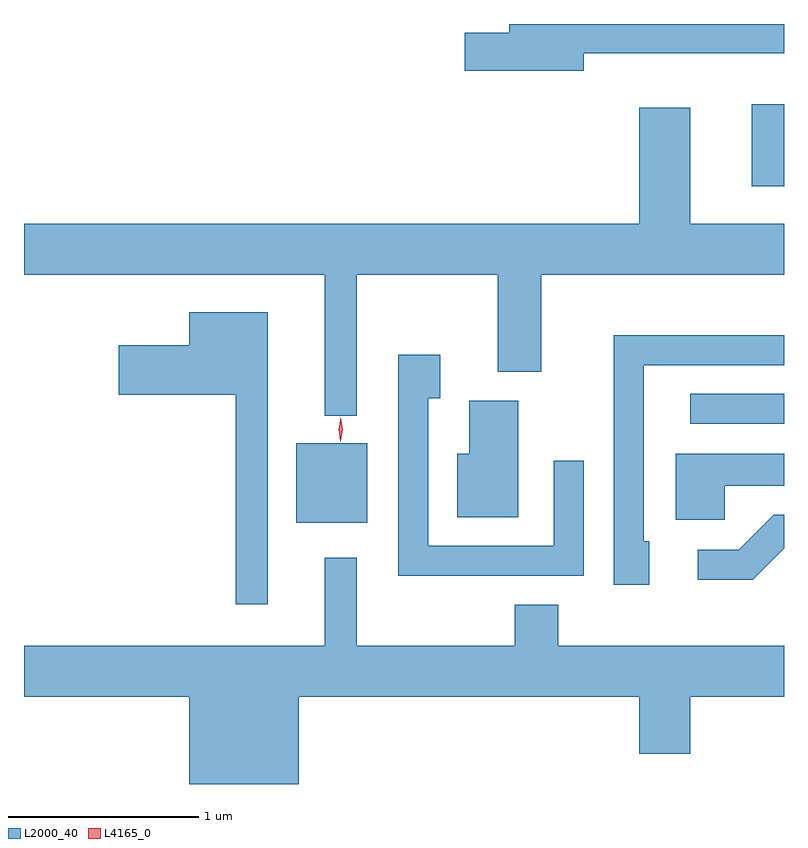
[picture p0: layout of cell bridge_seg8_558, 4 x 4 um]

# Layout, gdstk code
import gdstk
lib = gdstk.Library(unit=1e-6, precision=1e-09)
def R(c, l, rs):  # rectangles x0, y0, x1, y1
    for r in rs: c.add(gdstk.rectangle(r[:2], r[2:], *l))
def P(c, l, *ps):  # polygons
    for p in ps: c.add(gdstk.Polygon(p, *l))
L2000_40 = (2000, 40)
L4165_0 = (4165, 0)

bridge_seg8_558 = lib.new_cell('bridge_seg8_558')
R(bridge_seg8_558, L2000_40, [(592.891,1832.891,593.264,1833.309), (594.963,1833.411,595.457,1833.569), (595.286,1834.661,595.457,1835.094)])
P(bridge_seg8_558, L2000_40, [(594.404,1835.361),(595.457,1835.361),(595.457,1835.516),(594.011,1835.516),(594.011,1835.469),(593.776,1835.469),(593.776,1835.271),(594.404,1835.271)],
  [(593.209,1834.196),(593.951,1834.196),(593.951,1833.686),(594.179,1833.686),(594.179,1834.196),(595.457,1834.196),(595.457,1834.464),(594.964,1834.464),(594.964,1835.074),(594.696,1835.074),(594.696,1834.464),(591.457,1834.464),(591.457,1834.196),(593.041,1834.196),(593.041,1833.453),(593.209,1833.453)],
  [(592.739,1833.999),(592.326,1833.999),(592.326,1833.824),(591.956,1833.824),(591.956,1833.566),(592.571,1833.566),(592.571,1832.463),(592.739,1832.463)],
  [(594.749,1832.794),(594.719,1832.794),(594.719,1833.721),(595.457,1833.721),(595.457,1833.879),(594.561,1833.879),(594.561,1832.566),(594.749,1832.566)],
  [(594.404,1833.218),(594.246,1833.218),(594.246,1832.769),(593.584,1832.769),(593.584,1833.546),(593.649,1833.546),(593.649,1833.774),(593.426,1833.774),(593.426,1832.611),(594.404,1832.611)],
  [(594.059,1833.534),(593.801,1833.534),(593.801,1833.254),(593.736,1833.254),(593.736,1832.921),(594.059,1832.921)],
  [(595.144,1833.086),(595.457,1833.086),(595.457,1833.254),(594.886,1833.254),(594.886,1832.906),(595.144,1832.906)],
  [(595.457,1832.756),(595.457,1832.934),(595.404,1832.934),(595.219,1832.749),(595.003,1832.749),(595.003,1832.591),(595.292,1832.591)],
  [(591.457,1831.976),(592.326,1831.976),(592.326,1831.516),(592.904,1831.516),(592.904,1831.976),(594.696,1831.976),(594.696,1831.676),(594.964,1831.676),(594.964,1831.976),(595.457,1831.976),(595.457,1832.244),(594.269,1832.244),(594.269,1832.459),(594.041,1832.459),(594.041,1832.244),(593.209,1832.244),(593.209,1832.708),(593.041,1832.708),(593.041,1832.244),(591.457,1832.244)])
P(bridge_seg8_558, L4165_0, [(593.123,1833.318),(593.122,1833.319),(593.114,1833.383),(593.124,1833.447),(593.125,1833.447),(593.125,1833.447),(593.134,1833.382),(593.123,1833.319)])

lib.write_gds('bridge_seg8_558.gds')
